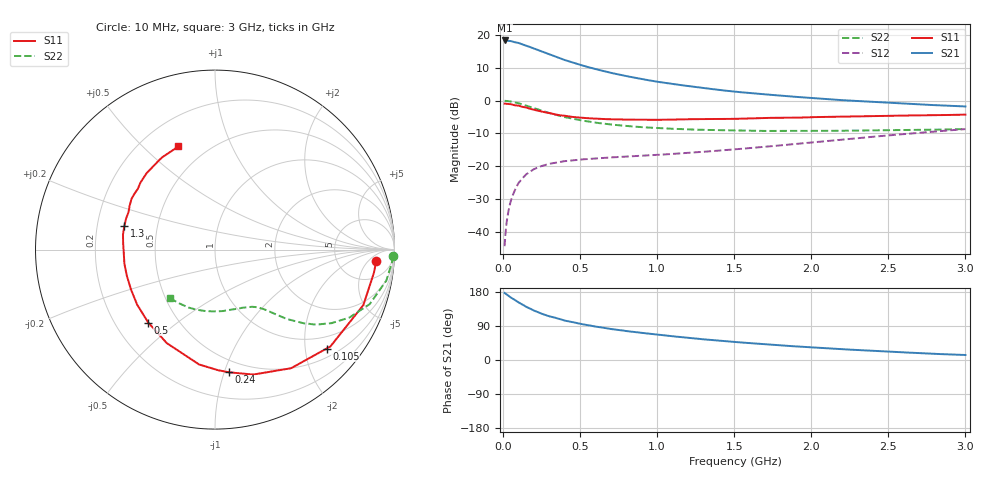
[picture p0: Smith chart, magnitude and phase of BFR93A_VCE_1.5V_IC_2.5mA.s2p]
! Infineon Technologies  Discrete & RF Semiconductors
! BFR93A
! VCE =  1.5 V,  IC =  2.5 mA
! Common Emitter S-Parameters:  Nov 2015
# GHz  S  MA  R  50
!  f  S11  S21  S12  S22
! GHz  MAG  ANG  MAG  ANG  MAG  ANG  MAG  ANG
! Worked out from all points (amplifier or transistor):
!   180 points, 10 MHz to 3 GHz, reference 50 ohm
!   highest |S21| = 18.3 dB at 10 MHz (marker M1)
!   |S21| within 3 dB of that: start of sweep to 230.8 MHz
!   unconditionally stable (mu >= 1): 906.2 MHz to end of sweep
!   at 160 MHz: K = 0.23, MSG = 19.4 dB, |S12| = -22.2 dB
!   at 1.22 GHz: K = 1.15, MAG = 7.8 dB, |S12| = -15.9 dB
!   at 3 GHz: K = 1.02, MAG = 2.7 dB, |S12| = -8.7 dB
!   S11 on the Smith chart (normalised r, x): 10 MHz: 13, -9; 105 MHz: 0.69, -2.46; 240 MHz: 0.40, -1.04; 500 MHz: 0.34, -0.40; 1.3 GHz: 0.32, +0.12; 3 GHz: 0.35, +0.65
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0.01  0.8998 -4.2  8.264 176.9  0.006 88.0  0.992 -2.1
0.015  0.8967 -6.2  8.261 175.4  0.009 85.5  0.9901 -3.1
0.025  0.89 -10.3  8.22 172.4  0.0149 82.5  0.9847 -5.1
0.05  0.8824 -20.5  8.084 165.0  0.0293 78.7  0.97 -10.3
0.1  0.8394 -40.0  7.574 152.1  0.055 68.4  0.914 -19.4
0.105  0.8308 -41.6  7.494 151.0  0.0569 67.2  0.9059 -20.1
0.15  0.7852 -57.3  6.905 140.3  0.0749 59.5  0.8395 -26.8
0.2  0.728 -73.0  6.251 130.5  0.0898 53.2  0.7673 -32.3
0.24  0.6882 -83.4  5.738 123.9  0.0982 48.8  0.7138 -35.7
0.3  0.6461 -97.9  5.074 115.3  0.1083 44.2  0.6447 -39.6
0.4  0.5861 -117.3  4.157 104.0  0.119 39.3  0.5589 -43.9
0.5  0.5509 -132.5  3.501 95.3  0.1257 36.6  0.5005 -46.5
0.52  0.545 -134.9  3.4 94.0  0.1268 36.4  0.4923 -46.9
0.6  0.5312 -144.8  3.016 88.2  0.131 35.6  0.4597 -48.6
0.7  0.5181 -154.6  2.644 81.8  0.1356 35.5  0.4308 -50.5
0.8  0.5124 -163.4  2.361 76.4  0.1395 36.0  0.4091 -52.5
1.02  0.5089 -179.0  1.908 66.1  0.1491 38.0  0.3788 -57.3
1.3  0.5217 165.3  1.554 54.6  0.1653 41.6  0.3572 -65.3
1.52  0.5271 155.7  1.356 47.0  0.1814 44.4  0.3483 -72.4
2.02  0.5591 137.6  1.086 32.8  0.2312 48.0  0.3442 -90.8
2.52  0.586 122.6  0.92 21.8  0.2968 47.1  0.3521 -111.1
3  0.6098 109.5  0.813 13.2  0.3668 42.9  0.3691 -132.6
